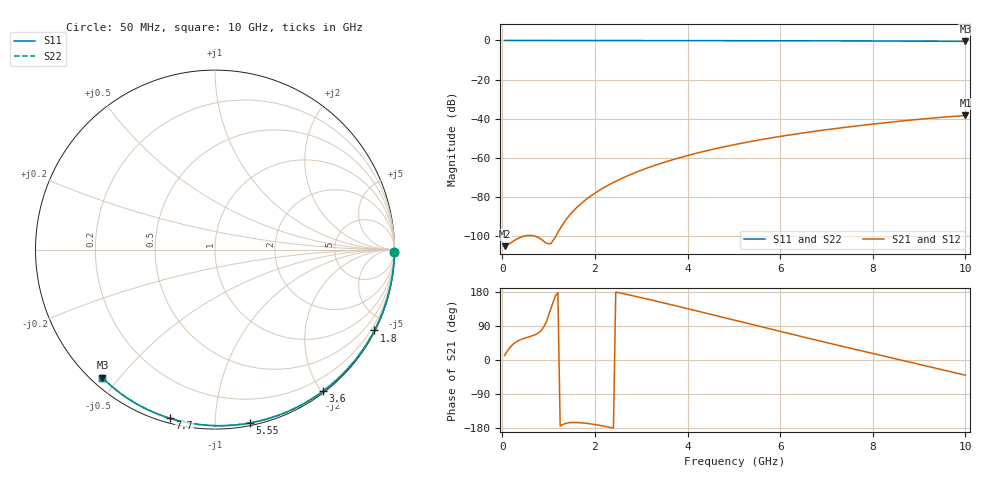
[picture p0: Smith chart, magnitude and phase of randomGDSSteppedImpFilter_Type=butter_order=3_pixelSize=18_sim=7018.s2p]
! freq	dB(S11)	phase(S11)	dB(S12)	phase(S12)
!  dB(S21)	phase(S21)	dB(S22)	phase(S22)
!S-par simulation data
#  GHz  S  DB  R 50
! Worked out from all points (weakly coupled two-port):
!   200 points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, 50 MHz to 10 GHz, reference 50 ohm
!   highest |S21| = -38.39 dB at 10 GHz (marker M1); lowest = -105.3 dB at 50 MHz (marker M2)
!   lowest |S11| = -0.4 dB at 10 GHz (marker M3), VSWR 39.25, Z = 1.54 - j22.6 ohm
!   |S11| at or under -10 dB: nowhere
!   |S22| runs from -0.4 to 0.0 dB; largest |S21 - S12| = 0
!   S11 on the Smith chart (normalised r, x): 50 MHz: open; 1.8 GHz: 0.04, -4.18; 3.6 GHz: 0.02, -2.02; 5.55 GHz: 0.02, -1.22; 7.7 GHz: 0.02, -0.77; 10 GHz: 0.03, -0.45
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0.05  -0.00 -0.8  -105.27 11.7  -105.27 11.7  -0.00 -0.8
0.45  -0.01 -6.8  -100.26 56.2  -100.26 56.2  -0.01 -6.8
0.9  -0.02 -13.6  -102.84 88.4  -102.84 88.4  -0.02 -13.6
1.75  -0.03 -26.2  -82.49 -166.1  -82.49 -166.1  -0.03 -26.2
1.8  -0.03 -26.9  -81.54 -166.8  -81.54 -166.8  -0.03 -26.9
1.9  -0.04 -28.4  -79.77 -168.4  -79.77 -168.4  -0.04 -28.4
2.05  -0.04 -30.6  -77.37 -171.4  -77.37 -171.4  -0.04 -30.6
2.25  -0.04 -33.5  -74.55 -175.8  -74.55 -175.8  -0.04 -33.5
2.45  -0.05 -36.4  -72.06 179.3  -72.06 179.3  -0.05 -36.4
2.65  -0.05 -39.2  -69.83 174.1  -69.83 174.1  -0.05 -39.2
3  -0.06 -44.2  -66.42 164.5  -66.42 164.5  -0.06 -44.2
3.4  -0.07 -49.8  -63.08 153.2  -63.08 153.2  -0.07 -49.8
3.6  -0.07 -52.6  -61.58 147.3  -61.58 147.3  -0.07 -52.6
4.3  -0.09 -62.2  -57.06 126.6  -57.06 126.6  -0.09 -62.2
5.05  -0.11 -72.1  -53.13 104.0  -53.13 104.0  -0.11 -72.1
5.55  -0.13 -78.6  -50.90 88.9  -50.90 88.9  -0.13 -78.6
6.1  -0.15 -85.5  -48.73 72.4  -48.73 72.4  -0.15 -85.5
6.7  -0.18 -92.9  -46.63 54.7  -46.63 54.7  -0.18 -92.9
7.7  -0.24 -104.9  -43.60 25.9  -43.60 25.9  -0.24 -104.9
8.35  -0.29 -112.5  -41.88 7.4  -41.88 7.4  -0.29 -112.5
9.15  -0.35 -121.7  -40.01 -15.4  -40.01 -15.4  -0.35 -121.7
10  -0.44 -131.3  -38.39 -40.1  -38.39 -40.1  -0.44 -131.3
